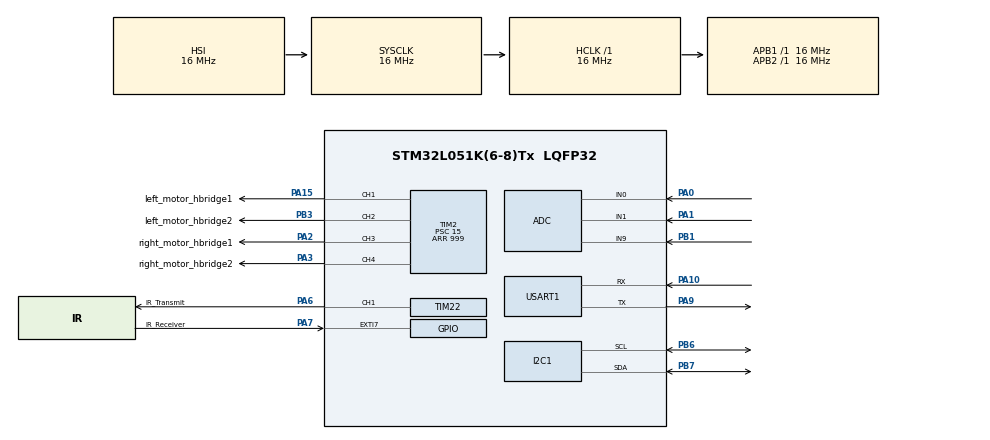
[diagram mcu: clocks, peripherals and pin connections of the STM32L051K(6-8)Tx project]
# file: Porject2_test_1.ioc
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I2C1.Timing=0x00503D58
Mcu.Family=STM32L0
Mcu.Name=STM32L051K(6-8)Tx
Mcu.Package=LQFP32
NVIC.EXTI4_15_IRQn=true\:1\:0\:true\:false\:true\:true\:true\:true
NVIC.TIM21_IRQn=true\:1\:0\:true\:false\:true\:true\:true\:true
NVIC.TIM6_DAC_IRQn=true\:0\:0\:false\:false\:true\:true\:true\:true
PA0.Mode=IN0
PA0.Signal=ADC_IN0
PA1.Mode=IN1
PA1.Signal=ADC_IN1
PA10.Mode=Asynchronous
PA10.Signal=USART1_RX
PA13.Mode=Serial_Wire
PA13.Signal=SYS_SWDIO
PA14.Mode=Serial_Wire
PA14.Signal=SYS_SWCLK
PA15.GPIO_Label=left_motor_hbridge1
PA15.Signal=S_TIM2_CH1
PA2.GPIO_Label=right_motor_hbridge1
PA2.Signal=S_TIM2_CH3
PA3.GPIO_Label=right_motor_hbridge2
PA3.Signal=S_TIM2_CH4
PA6.GPIO_Label=IR_Transmit
PA6.Signal=S_TIM22_CH1
PA7.GPIO_Label=IR_Receiver
PA7.GPIO_ModeDefaultEXTI=GPIO_MODE_IT_RISING_FALLING
PA7.GPIO_PuPd=GPIO_NOPULL
PA7.Signal=GPXTI7
PA9.Mode=Asynchronous
PA9.Signal=USART1_TX
PB1.Mode=IN9
PB1.Signal=ADC_IN9
PB3.GPIO_Label=left_motor_hbridge2
PB3.Signal=S_TIM2_CH2
PB6.Mode=I2C
PB6.Signal=I2C1_SCL
PB7.Mode=I2C
PB7.Signal=I2C1_SDA
ProjectManager.HeapSize=0x200
ProjectManager.StackSize=0x400
ProjectManager.TargetToolchain=CMake
RCC.AHBFreq_Value=16000000
RCC.APB1Freq_Value=16000000
RCC.APB1TimFreq_Value=16000000
RCC.APB2Freq_Value=16000000
RCC.APB2TimFreq_Value=16000000
RCC.HCLKFreq_Value=16000000
RCC.HSI16_VALUE=16000000
RCC.HSI_VALUE=16000000
RCC.LSE_VALUE=32768
RCC.MSI_VALUE=2097000
RCC.SYSCLKFreq_VALUE=16000000
RCC.SYSCLKSource=RCC_SYSCLKSOURCE_HSI
RCC.VCOOutputFreq_Value=48000000
SH.S_TIM22_CH1.0=TIM22_CH1,PWM Generation1 CH1
SH.S_TIM2_CH1.0=TIM2_CH1,PWM Generation1 CH1
SH.S_TIM2_CH2.0=TIM2_CH2,PWM Generation2 CH2
SH.S_TIM2_CH3.0=TIM2_CH3,PWM Generation3 CH3
SH.S_TIM2_CH4.0=TIM2_CH4,PWM Generation4 CH4
TIM2.Channel-PWM\ Generation1\ CH1=TIM_CHANNEL_1
TIM2.Channel-PWM\ Generation2\ CH2=TIM_CHANNEL_2
TIM2.Channel-PWM\ Generation3\ CH3=TIM_CHANNEL_3
TIM2.Channel-PWM\ Generation4\ CH4=TIM_CHANNEL_4
TIM2.Period=999
TIM2.Prescaler=15
TIM21.Period=262
TIM21.Prescaler=15
TIM22.Channel-PWM\ Generation1\ CH1=TIM_CHANNEL_1
TIM22.Period=420
TIM6.Prescaler=15
USART1.VirtualMode-Asynchronous=VM_ASYNC
VP_TIM21_VS_ClockSourceINT.Mode=Internal
VP_TIM2_VS_ClockSourceINT.Mode=Internal
VP_TIM6_VS_ClockSourceINT.Mode=Enable_Timer
board=custom

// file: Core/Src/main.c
/* USER CODE BEGIN Header */
/**
  ******************************************************************************
  * @file           : main.c
  * @brief          : Main program body
  ******************************************************************************
  */
/* USER CODE END Header */

#include "main.h"
#include "adc.h"
#include "i2c.h"
#include "tim.h"
#include "usart.h"
#include "gpio.h"

/* USER CODE BEGIN Includes */
#include <string.h>
#include <math.h>
#include <stdlib.h>
#include "ir_rx.h"
#include "ir_tx.h"
#include "config.h"
#include "datatypes.h"
#include "vl53l0x.h"
#include <stdio.h>
/* USER CODE END Includes */

/* USER CODE BEGIN PV */

// IMU Variables
static uint8_t imu_addr = 0;
static uint8_t gyro_buf[6];
static uint8_t accel_buf[6];

static int16_t gyro_x = 0;
static int16_t gyro_y = 0;
static int16_t gyro_z = 0;

static int16_t accel_x = 0;
static int16_t accel_y = 0;
static int16_t accel_z = 0;

static float ax_g = 0.0f;
static float ay_g = 0.0f;
static float az_g = 0.0f;

static float gx_dps = 0.0f;
static float gy_dps = 0.0f;
static float gz_dps = 0.0f;

static float gx_bias = 0.0f;
static float gy_bias = 0.0f;
static float gz_bias = 0.0f;

static float roll_deg = 0.0f;
static float pitch_deg = 0.0f;
static float yaw_deg = 0.0f;
static float yaw_zero_deg = 0.0f;

static float pose_x_cm = 0.0f;
static float pose_y_cm = 0.0f;
static int current_left_motor_cmd = 0;
static int current_right_motor_cmd = 0;
static int current_drive_cmd = 0;
static uint32_t last_imu_update_ms = 0u;
static uint32_t last_pose_stream_ms = 0u;
static uint8_t origin_sent = 0u;
static uint32_t last_guidewire_sample_ms = 0u;
static uint8_t guidewire_origin_locked = 0u;
static uint8_t guidewire_lock_streak = 0u;
float normalized_roll = 0.0f;

// IR_TX buffers
int ir_left_power = 0;
int ir_right_power = 0;

// Ping-pong IR TX scheduling
static uint32_t last_ir_tx_ms = 0u;
#define IR_TX_DEADLOCK_MS  50u   /* fallback: TX anyway if no RX for this long */

uint8_t rx_line_buf[96];
uint16_t rx_line_len = 0u;
uint8_t rx_pending_buf[96];
volatile uint16_t rx_pending_len = 0u;
volatile uint8_t rx_line_ready = 0u;
uint8_t uart_rx_byte = 0u;

// path tracking variables
uint8_t path_x[PATH_MAX_WAYPOINTS];
uint8_t path_y[PATH_MAX_WAYPOINTS];
uint8_t path_count = 0u;
uint8_t path_current_index = 0u;
uint8_t path_receiving = 0u;
uint8_t path_loaded = 0u;

// Vehicle Control
enum path_tracking_states my_tracking_states = Running;
volatile uint16_t ir_joystick_x = IR_JOYSTICK_CENTER_X;
volatile uint16_t ir_joystick_y = IR_JOYSTICK_CENTER_Y;

volatile uint16_t ir_mode      = 0u;
volatile uint8_t  ir_running   = 0u;
volatile uint16_t ir_path      = 1u;
volatile uint8_t ir_reset      = 0u; // 1 reset to config state
volatile uint8_t ir_pause      = 0u;
volatile uint8_t zero_yaw      = 0u;

// Inductor readings
uint16_t adc0;
uint16_t v_left;
uint16_t adc1;
uint16_t v_right;
uint16_t adc9;
uint16_t v_front;
uint16_t v_front_last;

//float intersection_encountered_yaw_angle;
float intersection_turn_current_yaw_angle;
uint32_t intersection_encountered_time;
uint8_t intersection_number = 0;
enum intersection_directions path1[] = {Forward, Left, Left, Forward, Right, Left, Right, Stop};
//enum intersection_directions path1[] = {Left, Left, Left, Right, Right, Left, Right, Stop};
enum intersection_directions path2[] = {Left, Right, Left, Right, Forward, Forward, Stop};
enum intersection_directions path3[] = {Right, Forward, Right, Left, Right, Left, Forward, Stop};
enum intersection_directions path_man[8] = {Stop, Stop, Stop, Stop, Stop, Stop, Stop, Stop};
uint8_t front_inductor_ready = 1;
uint32_t intersection_leave_time;
uint32_t last_intersection_turning_time;
uint32_t intersection_turn_settle_start_time;

// Time
uint32_t now_ms;
float dt_s;

// Controller State Machine
typedef enum
{
  STATE_CONFIG,
  STATE_DRIVE,
  STATE_PAUSE
} ControllerState;

// belongs to DRIVE state in ControllerState
typedef enum
{
  STATE_FIELD_TRACKING,
  STATE_REMOTE,
  STATE_PATH_TRACKING
} CarState;

ControllerState controller_state = STATE_CONFIG;
CarState car_state = STATE_FIELD_TRACKING;

/* USER CODE END PV */

void SystemClock_Config(void);
/* USER CODE BEGIN PFP */

void Set_Left_Motor(int speed);
void Set_Right_Motor(int speed);
void handle_resting(void);
void handle_intersection_encountered(void);
void handle_intersection_turning(void);
void path_tracking(void);
void handle_line_tracking(void);
void motor_remote_control(uint16_t, uint16_t);
void Set_Car_Speed(int speed);
void handle_intersection_stop(void);
void handle_intersection_compensation(void);
void handle_intersection_turn_settle(void);

// IMU
void uart_send_text(const char *s);
void uart_send_line(const char *s);
void uart_send_uint32(uint32_t value);
void uart_send_pose(void);
void uart_send_origin(void);
void uart_dump_waypoints(const char *tag);
void process_uart_command(char *line);
void process_pathfinder_control(float dt_s);
void sample_guidewire_sensors(void);
void update_guidewire_origin_reference(void);
void reset_pose_origin(void);
float wrap_angle_deg(float angle_deg);
float roll_to_negative_domain_deg(float wrapped_angle_deg);
int clamp_motor_speed(int speed);
int parse_int_simple(const char *s, int *out);

uint8_t probe_addr(uint8_t addr);
void i2c_scan(void);

uint8_t imu_write_reg(uint8_t reg, uint8_t val);
uint8_t imu_read_reg(uint8_t reg, uint8_t *val);
uint8_t imu_read_regs(uint8_t reg, uint8_t *buf, uint16_t len);

uint8_t MiniMU_FindIMU(void);
uint8_t MiniMU_Init(void);
uint8_t MiniMU_ReadGyro(void);
uint8_t MiniMU_ReadAccel(void);
void MiniMU_UpdateScaled(void);
void MiniMU_UpdateAngles(void);
void MiniMU_PrintScaledData(void);
void MiniMU_PrintAngles(void);
uint8_t MiniMU_CalibrateGyro(void);

void IMUUpdate(void); //MAIN IMU FUNCTION

// IR TX queue helpers
static void SendNextFromQueue(void);
static void EnqueueTelemetry(void);

// State Machine Functions
void ControllerStateMachine(void);
void CarStateMachine(void);
void HandleCommand(uint8_t cmd_name, uint16_t val);

/* USER CODE END PFP */

/* USER CODE BEGIN 0 */

void UART_StartRxIT(void)
{
    HAL_UART_Receive_IT(&huart1, &uart_rx_byte, 1u);
}

float wrap_angle_deg(float angle_deg)
{
    while (angle_deg > 180.0f)
    {
        angle_deg -= 360.0f;
    }

    while (angle_deg < -180.0f)
    {
        angle_deg += 360.0f;
    }

    return angle_deg;
}

float roll_to_negative_domain_deg(float wrapped_angle_deg)
{
    float angle_deg = wrap_angle_deg(wrapped_angle_deg);

    if (angle_deg > 0.0f)
    {
        angle_deg -= 360.0f;
    }

    return angle_deg;
}

int clamp_motor_speed(int speed)
{
    if (speed > 100)
    {
        return 100;
    }

    if (speed < -100)
    {
        return -100;
    }

    return speed;
}

int parse_int_simple(const char *s, int *out)
{
    int sign = 1;
    int value = 0;

    if ((s == NULL) || (out == NULL) || (*s == '\0'))
    {
        return 0;
    }

    if (*s == '-')
    {
        sign = -1;
        s++;
    }

    if (*s == '\0')
    {
        return 0;
    }

    while (*s != '\0')
    {
        if ((*s < '0') || (*s > '9'))
        {
            return 0;
        }

        value = (value * 10) + (*s - '0');
        s++;
    }

    *out = sign * value;
    return 1;
}

static uint8_t text_equals(const char *a, const char *b)
{
    if ((a == NULL) || (b == NULL))
    {
        return 0u;
    }

    while ((*a != '\0') && (*b != '\0'))
    {
        if (*a != *b)
        {
            return 0u;
        }
        a++;
        b++;
    }

    return ((*a == '\0') && (*b == '\0')) ? 1u : 0u;
}

static int split_csv_fields(char *line, char **fields, int max_fields)
{
    int count = 0;

    if ((line == NULL) || (fields == NULL) || (max_fields <= 0))
    {
        return 0;
    }

    fields[count++] = line;

    while (*line != '\0')
    {
        if (*line == ',')
        {
            *line = '\0';
            if (count < max_fields)
            {
                fields[count++] = line + 1;
            }
        }
        line++;
    }

    return count;
}

void process_uart_command(char *line)
{
    char original_line[sizeof(rx_pending_buf)];
    char *tokens[4];
    int token_count = 0;
    int parsed_value;
    uint16_t i = 0u;

    if ((line == NULL) || (*line == '\0'))
    {
        return;
    }

    while ((i < (uint16_t)(sizeof(original_line) - 1u)) && (line[i] != '\0'))
    {
        original_line[i] = line[i];
        i++;
    }
    original_line[i] = '\0';

    token_count = split_csv_fields(line, tokens, (int)(sizeof(tokens) / sizeof(tokens[0])));

    if (token_count <= 0)
    {
        return;
    }

    if (text_equals(tokens[0], "PATH_BEGIN"))
    {
        if ((token_count >= 2) &&
            parse_int_simple(tokens[1], &parsed_value) &&
            (parsed_value >= 0) &&
            (parsed_value <= (int)PATH_MAX_WAYPOINTS))
        {
            path_count = (uint8_t)parsed_value;
            path_current_index = 0u;
            path_receiving = 1u;
            path_loaded = 0u;
            uart_send_line("PATH_ACK,BEGIN");
        }
        return;
    }

    if (text_equals(tokens[0], "WPT"))
    {
        int idx;
        int x_cm;
        int y_cm;

        if ((token_count >= 4) &&
            path_receiving &&
            parse_int_simple(tokens[1], &idx) &&
            parse_int_simple(tokens[2], &x_cm) &&
            parse_int_simple(tokens[3], &y_cm) &&
            (idx >= 0) &&
            (idx < (int)PATH_MAX_WAYPOINTS) &&
            (x_cm >= 0) &&
            (x_cm <= 255) &&
            (y_cm >= 0) &&
            (y_cm <= 255))
        {
            path_x[idx] = (uint8_t)x_cm;
            path_y[idx] = (uint8_t)y_cm;
            if ((uint8_t)(idx + 1) > path_count)
            {
                path_count = (uint8_t)(idx + 1);
            }
            uart_send_text("RX_CMD,");
            uart_send_line(original_line);
        }
        return;
    }

    if (text_equals(tokens[0], "PATH_END"))
    {
        if (path_receiving)
        {
            path_receiving = 0u;
            path_loaded = (path_count > 0u) ? 1u : 0u;
            path_current_index = 0u;
            uart_send_line("PATH_ACK,LOADED");
            uart_dump_waypoints("UART");
        }
        return;
    }

    if (text_equals(tokens[0], "ZERO_YAW"))
    {
        yaw_zero_deg = yaw_deg;
        uart_send_line("ZERO_YAW_ACK,OK");
    }
}

void reset_pose_origin(void)
{
    pose_x_cm = 0.0f;
    pose_y_cm = 0.0f;
    yaw_zero_deg = yaw_deg;
    current_drive_cmd = 0;
    origin_sent = 0u;
    guidewire_origin_locked = 0u;
    guidewire_lock_streak = 0u;
}
/* USER CODE END 0 */

int main(void)
{

  /* MCU Configuration--------------------------------------------------------*/

  /* Reset of all peripherals, Initializes the Flash interface and the Systick. */
  HAL_Init();
  SystemClock_Config();

  MX_GPIO_Init();
  MX_USART1_UART_Init();
  UART_StartRxIT();
  MX_TIM2_Init();
  MX_ADC_Init();
  MX_I2C1_Init();
  MX_TIM6_Init();
  /* USER CODE BEGIN 2 */
  HAL_TIM_PWM_Start(&htim2, TIM_CHANNEL_1);
  HAL_TIM_PWM_Start(&htim2, TIM_CHANNEL_2);
  HAL_TIM_PWM_Start(&htim2, TIM_CHANNEL_3);
  HAL_TIM_PWM_Start(&htim2, TIM_CHANNEL_4);

  reset_pose_origin();
  last_imu_update_ms = HAL_GetTick();
  last_pose_stream_ms = last_imu_update_ms;
  last_guidewire_sample_ms = last_imu_update_ms;
  uart_send_origin();

  // Configure ADC channel
  HAL_ADCEx_Calibration_Start(&hadc, ADC_SINGLE_ENDED);
  vdda_calibration();

  // i2c init
  VL53L0X_Init();

  // IR init
  htim6.Instance->ARR = 262u;
  htim6.Instance->EGR = 0x01U;
  IR_RX_Init();
  MX_TIM21_Init();
  MX_TIM22_Init();
  IR_TX_Init();
  HAL_TIM_Base_Start_IT(&htim6);

  // IMU init
  if (!MiniMU_Init())
  {
      while (1)
      {
          HAL_GPIO_TogglePin(GPIOB, GPIO_PIN_1);
          HAL_Delay(1000);
      }
  }

  if (!MiniMU_CalibrateGyro())
  {
      while (1)
      {
          HAL_GPIO_TogglePin(GPIOB, GPIO_PIN_1);
          HAL_Delay(1000);
      }
  }

  last_imu_update_ms = HAL_GetTick();
  last_pose_stream_ms = last_imu_update_ms;
  last_guidewire_sample_ms = last_imu_update_ms;
  uart_send_origin();

  /* USER CODE END 2 */

  /* Infinite loop */
  while (1)
  {

    /* USER CODE BEGIN 3 */
    now_ms = HAL_GetTick();

    IR_RX_Update();
    if (ir_rx_ready) {
        ir_rx_ready = 0u;
        HandleCommand(ir_rx_frame.cmd, ir_rx_frame.val);
        SendNextFromQueue();          /* ping-pong: TX immediately after RX   */
    }
    /* Deadlock guard: if no RX packet for IR_TX_DEADLOCK_MS, TX anyway       */
    if (!IR_TX_Busy() && (now_ms - last_ir_tx_ms) >= IR_TX_DEADLOCK_MS) {
        SendNextFromQueue();
    }

    // path tracking zero the yaw
    if (zero_yaw)
    {
        reset_pose_origin();
        zero_yaw = 0u;
    }

    /*
    if (rx_line_ready)
    {
        char line_buf[sizeof(rx_pending_buf)];
        uint16_t copy_len = rx_pending_len;
        uint16_t i;

        if (copy_len >= sizeof(line_buf))
        {
            copy_len = (uint16_t)(sizeof(line_buf) - 1u);
        }

        for (i = 0u; i < copy_len; i++)
        {
            line_buf[i] = (char)rx_pending_buf[i];
        }
        line_buf[copy_len] = '\0';
        rx_pending_len = 0u;
        rx_line_ready = 0u;
        process_uart_command(line_buf);
    }
    */

    /*--------------------------------------------------------------------------*/
    // Collision Detection & IMU Tip Detection (Roll)
    /*--------------------------------------------------------------------------*/
    static uint32_t last_dist_ms = 0;
    static uint16_t current_distance = 8190; // Default to max range

    if (HAL_GetTick() - last_dist_ms >= 100u) {
      last_dist_ms = HAL_GetTick();
      uint16_t reading = VL53L0X_ReadDistance();
      if (reading != 0xFFFFu) {
          current_distance = reading;
      } else {
          current_distance = 8190;
      }
      //printf("[DIST] raw=%u  used=%u\r\n", reading, current_distance);
    }

    if (current_distance < 100u)
    {
      Set_Left_Motor(0);
      Set_Right_Motor(0);
      current_drive_cmd = 0;
    }
    else if ((normalized_roll + 180) > 50 || (normalized_roll + 180) < -50)
    {
      Set_Left_Motor(0);
      Set_Right_Motor(0);
      current_drive_cmd = 0;
     // printf("car tilted\r\n");
    }
    else
    {
      ControllerStateMachine();
      //printf("running normally\r\n");
    }

    IMUUpdate();
    /*--------------------------------------------------------------------------*/
  /* USER CODE END 3 */
  }
  /* USER CODE END WHILE */
}

void SystemClock_Config(void)
{
  RCC_OscInitTypeDef RCC_OscInitStruct = {0};
  RCC_ClkInitTypeDef RCC_ClkInitStruct = {0};
  RCC_PeriphCLKInitTypeDef PeriphClkInit = {0};

  __HAL_PWR_VOLTAGESCALING_CONFIG(PWR_REGULATOR_VOLTAGE_SCALE1);

  RCC_OscInitStruct.OscillatorType = RCC_OSCILLATORTYPE_HSI;
  RCC_OscInitStruct.HSIState = RCC_HSI_ON;
  RCC_OscInitStruct.HSICalibrationValue = RCC_HSICALIBRATION_DEFAULT;
  RCC_OscInitStruct.PLL.PLLState = RCC_PLL_NONE;
  if (HAL_RCC_OscConfig(&RCC_OscInitStruct) != HAL_OK)
  {
    Error_Handler();
  }

  RCC_ClkInitStruct.ClockType = RCC_CLOCKTYPE_HCLK | RCC_CLOCKTYPE_SYSCLK
                              | RCC_CLOCKTYPE_PCLK1 | RCC_CLOCKTYPE_PCLK2;
  RCC_ClkInitStruct.SYSCLKSource = RCC_SYSCLKSOURCE_HSI;
  RCC_ClkInitStruct.AHBCLKDivider = RCC_SYSCLK_DIV1;
  RCC_ClkInitStruct.APB1CLKDivider = RCC_HCLK_DIV1;
  RCC_ClkInitStruct.APB2CLKDivider = RCC_HCLK_DIV1;

  if (HAL_RCC_ClockConfig(&RCC_ClkInitStruct, FLASH_LATENCY_0) != HAL_OK)
  {
    Error_Handler();
  }

  PeriphClkInit.PeriphClockSelection = RCC_PERIPHCLK_USART1|RCC_PERIPHCLK_I2C1;
  PeriphClkInit.Usart1ClockSelection = RCC_USART1CLKSOURCE_PCLK2;
  PeriphClkInit.I2c1ClockSelection = RCC_I2C1CLKSOURCE_PCLK1;

  if (HAL_RCCEx_PeriphCLKConfig(&PeriphClkInit) != HAL_OK)
  {
    Error_Handler();
  }
}

/* USER CODE BEGIN 4 */
// LEFT MOTOR (TIM2) |  CH1 (PA15) = Forward Pin | CH2 (PB3) = Reverse Pin
void Set_Left_Motor(int speed){
  speed = clamp_motor_speed(speed);
  current_left_motor_cmd = speed;

  if(speed == 0) { // STOP
    __HAL_TIM_SET_COMPARE(&htim2, TIM_CHANNEL_1, 0);
    __HAL_TIM_SET_COMPARE(&htim2, TIM_CHANNEL_2, 0);
  }
  else if(speed > 0) { // FORWARD: CH1 gets PWM, CH2 stays 0
    __HAL_TIM_SET_COMPARE(&htim2, TIM_CHANNEL_1, speed * 10);
    __HAL_TIM_SET_COMPARE(&htim2, TIM_CHANNEL_2, 0);
  }
  else { // REVERSE: CH1 stays 0, CH2 gets PWM
    __HAL_TIM_SET_COMPARE(&htim2, TIM_CHANNEL_1, 0);
    __HAL_TIM_SET_COMPARE(&htim2, TIM_CHANNEL_2, (-speed) * 10);
  }
}

// RIGHT MOTOR (TIM2) | CH3 (PA2) = Forward Pin | CH4 (PA3) = Reverse Pin
void Set_Right_Motor(int speed){
  speed = clamp_motor_speed(speed);
  current_right_motor_cmd = speed;

  if(speed == 0) { // STOP
    __HAL_TIM_SET_COMPARE(&htim2, TIM_CHANNEL_3, 0);
    __HAL_TIM_SET_COMPARE(&htim2, TIM_CHANNEL_4, 0);
  }
  else if(speed > 0) { // FORWARD: CH3 gets PWM, CH4 stays 0
    __HAL_TIM_SET_COMPARE(&htim2, TIM_CHANNEL_3, speed * 10);
    __HAL_TIM_SET_COMPARE(&htim2, TIM_CHANNEL_4, 0);
  }
  else { // REVERSE: CH3 stays 0, CH4 gets PWM
    __HAL_TIM_SET_COMPARE(&htim2, TIM_CHANNEL_3, 0);
    __HAL_TIM_SET_COMPARE(&htim2, TIM_CHANNEL_4, (-speed) * 10);
  }
}

/* TX addr=0x7 continuously, print any received addr=0x6 frame. */

void path_tracking(void){
  sample_guidewire_sensors();
  //printf("%d\n", my_tracking_states);

  switch(my_tracking_states){
    case Resting:
      handle_resting();
      break;

    case Running:
      handle_line_tracking();
      break;

    case Intersection_encountered:
      handle_intersection_encountered();
      break;

    case Intersection_compensation:
      handle_intersection_compensation();
      break;

    case Intersection_turning:
      handle_intersection_turning();
      break;

    case Intersection_turn_settle:
      handle_intersection_turn_settle();
      break;

    case Intersection_stop:
      handle_intersection_stop();
      break;
  }
}

void sample_guidewire_sensors(void)
{
  adc0 = read_adc_channel(ADC_CHANNEL_0);
  adc1 = read_adc_channel(ADC_CHANNEL_1);
  adc9 = read_adc_channel(ADC_CHANNEL_9);

  // left, right, front and adc mapping depend on wiring
  v_left = adc_to_voltage(adc0);
  v_right = adc_to_voltage(adc9);
  v_front = adc_to_voltage(adc1);
}

void handle_resting(void){
  Set_Left_Motor(0);
  Set_Right_Motor(0);
  intersection_number = 0;

  if (controller_state == STATE_DRIVE){
    my_tracking_states = Running;
  }
  else{
    my_tracking_states = Resting;
  }
}

void update_guidewire_origin_reference(void)
{
  uint32_t lateral_error_mv;

  if (guidewire_origin_locked)
  {
    return;
  }

  lateral_error_mv = (v_left > v_right) ? (v_left - v_right) : (v_right - v_left);

  if ((v_front >= GUIDEWIRE_FRONT_THRESHOLD_MV) &&
      (lateral_error_mv <= GUIDEWIRE_BALANCE_TOLERANCE_MV))
  {
    if (guidewire_lock_streak < GUIDEWIRE_LOCK_SAMPLES_REQUIRED)
    {
      guidewire_lock_streak++;
    }
  }
  else
  {
    guidewire_lock_streak = 0u;
  }

  if (guidewire_lock_streak >= GUIDEWIRE_LOCK_SAMPLES_REQUIRED)
  {
    reset_pose_origin();
    guidewire_origin_locked = 1u;
    uart_send_origin();
    uart_send_pose();
  }
}

void handle_line_tracking(void){
  int base_power;
  int error;
  int left_power;
  int right_power;
  uint32_t line_tracking_current_time = HAL_GetTick();
  if(line_tracking_current_time - intersection_leave_time > INTERSECTION_REARM_TIME_MS){
    front_inductor_ready = 1;
  }

  error = (int)v_left - (int)v_right;
  base_power = PB - KS * abs(error);

  /*
  if(v_front > 700){
    base_power = base_power - KF * v_front;
    if (base_power < 45) {
      base_power = 45;
    }
  }
  */
  if(v_front > 700 && v_front > v_front_last){
    base_power = PB - 0.1 * (v_front - v_front_last);
  }

  left_power = base_power - KP * error;
  right_power = base_power + KP * error;

  if(front_inductor_ready == 1 && v_front > STOP_VF){
    my_tracking_states = Intersection_encountered;
  }
  else{
    my_tracking_states = Running;
  }

  Set_Left_Motor(left_power);
  Set_Right_Motor(right_power);

  // ir_tx power update
  ir_right_power = left_power;
  ir_left_power = right_power;

  v_front_last = v_front;
}

void handle_intersection_encountered(void){
  intersection_number += 1;
  enum intersection_directions current_direction;
  switch(ir_path){
    case IR_PATH_1:
      current_direction = path1[intersection_number-1];
      break;

    case IR_PATH_2:
      current_direction = path2[intersection_number-1];
      break;

    case IR_PATH_3:
      current_direction = path3[intersection_number-1];
      break;

    case IR_PATH_MANUAL:
      current_direction = (intersection_number <= 8u)
          ? path_man[intersection_number-1] : Stop;
      break;

    default:
      current_direction = Stop;
      break;
  }

  if(current_direction == Forward){
    my_tracking_states = Intersection_turning;
    //intersection_leave_time = HAL_GetTick();
    front_inductor_ready = 0;
  }
  else{
    Set_Left_Motor(0);
    Set_Right_Motor(0);
    //my_tracking_states = Intersection_turning;
    my_tracking_states = Intersection_compensation;
    intersection_encountered_time = HAL_GetTick();
    //last_intersection_turning_time = HAL_GetTick();
    //intersection_turn_current_yaw_angle = 0;
    //front_inductor_ready = 0;
  }
}

void handle_intersection_compensation(void){
  if(HAL_GetTick() - intersection_encountered_time < INTERSECTION_COMPENSATION_TIME){
    Set_Left_Motor(50);
    Set_Right_Motor(50);
    my_tracking_states = Intersection_compensation;
  }
  else{
    Set_Left_Motor(0);
    Set_Right_Motor(0);
    my_tracking_states = Intersection_turning;
    last_intersection_turning_time = HAL_GetTick();
    intersection_turn_current_yaw_angle = 0;
    front_inductor_ready = 0;
  }
}

void handle_intersection_turning(void){
  //uint32_t intersection_turning_current_time = HAL_GetTick();
  float dt_s = (HAL_GetTick() - last_intersection_turning_time) / 1000.0f;
  last_intersection_turning_time = HAL_GetTick();
  intersection_turn_current_yaw_angle = intersection_turn_current_yaw_angle + gz_dps * dt_s;
  enum intersection_directions current_direction;
  switch(ir_path){
    case IR_PATH_1:
      current_direction = path1[intersection_number-1];
      break;

    case IR_PATH_2:
      current_direction = path2[intersection_number-1];
      break;

    case IR_PATH_3:
      current_direction = path3[intersection_number-1];
      break;

    case IR_PATH_MANUAL:
      current_direction = (intersection_number <= 8u)
          ? path_man[intersection_number-1] : Stop;
      break;

    default:
      current_direction = Stop;
      break;
  }

  switch(current_direction){
    case Forward:
      my_tracking_states = Running;
      intersection_leave_time = HAL_GetTick();
      break;

    case Left:
      if(intersection_turn_current_yaw_angle > LEFT_TURN_DEGREE){
        Set_Left_Motor(-TURNING_SPEED);
        Set_Right_Motor(TURNING_SPEED);
        my_tracking_states = Intersection_turning;
      }
      else{
        Set_Left_Motor(0);
        Set_Right_Motor(0);
        intersection_turn_settle_start_time = HAL_GetTick();
        my_tracking_states = Intersection_turn_settle;
      }
      break;

    case Right:
      if(intersection_turn_current_yaw_angle < RIGHT_TURN_DEGREE){
        Set_Left_Motor(TURNING_SPEED);
        Set_Right_Motor(-TURNING_SPEED);
        my_tracking_states = Intersection_turning;
      }
      else{
        Set_Left_Motor(0);
        Set_Right_Motor(0);
        intersection_turn_settle_start_time = HAL_GetTick();
        my_tracking_states = Intersection_turn_settle;
      }
      break;

    case Stop:
      my_tracking_states = Intersection_stop;
      intersection_leave_time = HAL_GetTick();
      break;
  }
}

void handle_intersection_turn_settle(void){
  Set_Left_Motor(0);
  Set_Right_Motor(0);

  if(HAL_GetTick() - intersection_turn_settle_start_time < INTERSECTION_TURN_SETTLE_TIME){
    my_tracking_states = Intersection_turn_settle;
  }
  else{
    my_tracking_states = Running;
    intersection_leave_time = HAL_GetTick();
  }
}

void handle_intersection_stop(void){
  Set_Left_Motor(0);
  Set_Right_Motor(0);
  intersection_number = 0;
  ir_running = 0;
  controller_state = STATE_CONFIG;
  my_tracking_states = Resting;
}

void motor_remote_control(uint16_t x, uint16_t y){
  int x_in;
  int y_in;
  int left_power;
  int right_power;

  if(x >= 165u){
    x_in = (((int)x - 165) * 100) / 90;
  }
  else{
    x_in = (((int)x - 165) * 100) / 165;
  }

  if(y >= 170u){
    y_in = (((int)y - 170) * 100) / 85;
  }
  else{
    y_in = (((int)y - 170) * 100) / 170;
  }

  /* Dead zone for joy stick */
  if(x_in < 20 && x_in > -20){
    x_in = 0;
  }
  if(y_in < 20 && y_in > -20){
    y_in = 0;
  }

  if(x_in == 0){
    left_power = y_in;
    right_power = -y_in;
  }
  else{
    left_power = x_in + y_in / 2;
    right_power = x_in - y_in / 2;
  }

  current_drive_cmd = 0;

  Set_Left_Motor(left_power);
  Set_Right_Motor(right_power);

    // ir_tx power update
  ir_right_power = left_power;
  ir_left_power = right_power;

}

void Set_Car_Speed(int speed){
  //speed should be between 0 and 100
  if(speed > 100)
    speed = 100;
  if(speed < -100)
    speed = -100;
  //STOP
  if(speed == 0) {
    __HAL_TIM_SET_COMPARE(&htim2, TIM_CHANNEL_1, 0);
    __HAL_TIM_SET_COMPARE(&htim2, TIM_CHANNEL_2, 0);
  }
  //FORWARD
  else if(speed > 0) {
    HAL_GPIO_WritePin(GPIOB, GPIO_PIN_0, GPIO_PIN_SET);
    HAL_GPIO_WritePin(GPIOA, GPIO_PIN_5, GPIO_PIN_RESET);

    // Multiply by 10 (e.g., 100% * 10 = 1000 ARR)
    __HAL_TIM_SET_COMPARE(&htim2, TIM_CHANNEL_1, speed * 10);
    __HAL_TIM_SET_COMPARE(&htim2, TIM_CHANNEL_2, speed * 10);
  }
  //BACKWARD
  else{
    HAL_GPIO_WritePin(GPIOB, GPIO_PIN_0, GPIO_PIN_RESET);
    HAL_GPIO_WritePin(GPIOA, GPIO_PIN_5, GPIO_PIN_SET);

    // Multiply by -10 (e.g., -100% * -10 = 1000 ARR)
    __HAL_TIM_SET_COMPARE(&htim2, TIM_CHANNEL_1, (-speed) * 10);
    __HAL_TIM_SET_COMPARE(&htim2, TIM_CHANNEL_2, (-speed) * 10);
  }
}

int __io_putchar(int ch)
{
    HAL_UART_Transmit(&huart1, (uint8_t *)&ch, 1u, HAL_MAX_DELAY);
    return ch;
}

void uart_send_text(const char *s)
{
    HAL_UART_Transmit(&huart1, (uint8_t *)s, (uint16_t)strlen(s), HAL_MAX_DELAY);
}

void uart_send_line(const char *s)
{
    uart_send_text(s);
    uart_send_text("\r\n");
}

void uart_send_uint32(uint32_t value)
{
    char buf[10];
    int i = 0;

    if (value == 0u)
    {
        uart_send_text("0");
        return;
    }

    while ((value > 0u) && (i < (int)sizeof(buf)))
    {
        buf[i++] = (char)('0' + (value % 10u));
        value /= 10u;
    }

    while (i > 0)
    {
        i--;
        HAL_UART_Transmit(&huart1, (uint8_t *)&buf[i], 1u, HAL_MAX_DELAY);
    }
}

void uart_send_origin(void)
{
    uart_send_line("ORIGIN,0,0");
    origin_sent = 1u;
}

void uart_dump_waypoints(const char *tag)
{
    uint8_t i;

    uart_send_text("PATH_DUMP");
    if ((tag != NULL) && (*tag != '\0'))
    {
        uart_send_text(",");
        uart_send_text(tag);
    }
    uart_send_text(",count,");
    uart_send_uint32(path_count);
    uart_send_text(",current,");
    uart_send_uint32(path_current_index);
    uart_send_text(",loaded,");
    uart_send_uint32(path_loaded);
    uart_send_text("\r\n");

    for (i = 0u; i < path_count; i++)
    {
        uart_send_text("WPT_BUF,");
        uart_send_uint32(i);
        uart_send_text(",");
        uart_send_uint32(path_x[i]);
        uart_send_text(",");
        uart_send_uint32(path_y[i]);
        uart_send_text("\r\n");
    }
}

void HAL_UART_RxCpltCallback(UART_HandleTypeDef *huart)
{
    uint16_t i;

    if (huart->Instance != USART1)
    {
        return;
    }

    if ((uart_rx_byte == '\r') || (uart_rx_byte == '\n'))
    {
        if ((rx_line_len > 0u) && !rx_line_ready)
        {
            for (i = 0u; i < rx_line_len; i++)
            {
                rx_pending_buf[i] = rx_line_buf[i];
            }
            rx_pending_len = rx_line_len;
            rx_line_len = 0u;
            rx_line_ready = 1u;
        }
        else
        {
            rx_line_len = 0u;
        }
    }
    else if (rx_line_len < (sizeof(rx_line_buf) - 1u))
    {
        rx_line_buf[rx_line_len++] = uart_rx_byte;
    }
    else
    {
        rx_line_len = 0u;
    }

    HAL_UART_Receive_IT(&huart1, &uart_rx_byte, 1u);
}

void HAL_UART_ErrorCallback(UART_HandleTypeDef *huart)
{
    if (huart->Instance != USART1)
    {
        return;
    }

    rx_line_len = 0u;
    HAL_UART_Receive_IT(&huart1, &uart_rx_byte, 1u);
}

void process_pathfinder_control(float dt_s)
{
    float target_x;
    float target_y;
    float dx;
    float dy;
    float distance_cm;
    float current_heading_deg;
    float target_heading_deg;
    float heading_error_deg;
    float forward_scale;
    int drive_cmd;
    int steer_cmd;
    int left_cmd;
    int right_cmd;

    if (path_current_index >= path_count)
    {
        current_drive_cmd = 0;
        Set_Left_Motor(0);
        Set_Right_Motor(0);
        return;
    }

    target_x = path_x[path_current_index];
    target_y = path_y[path_current_index];
    dx = target_x - pose_x_cm;
    dy = target_y - pose_y_cm;
    distance_cm = sqrtf((dx * dx) + (dy * dy));
    current_heading_deg = wrap_angle_deg(yaw_deg - yaw_zero_deg);
    target_heading_deg = atan2f(dy, dx) * RAD_TO_DEG;
    heading_error_deg = wrap_angle_deg(target_heading_deg - current_heading_deg);

    if (distance_cm <= PATH_REACHED_TOLERANCE_CM)
    {
        path_current_index++;
        if (path_current_index >= path_count)
        {
            current_drive_cmd = 0;
            Set_Left_Motor(0);
            Set_Right_Motor(0);
        }
        return;
    }

    drive_cmd = PATH_FORWARD_SPEED;
    if (distance_cm < 20.0f)
    {
        drive_cmd = PATH_APPROACH_SPEED;
    }

    if (fabsf(heading_error_deg) > 60.0f)
    {
        drive_cmd = PATH_APPROACH_SPEED;
    }

    steer_cmd = (int)(heading_error_deg * PATH_STEER_GAIN);

    if (steer_cmd > PATH_MAX_STEER_CMD)
    {
        steer_cmd = PATH_MAX_STEER_CMD;
    }
    else if (steer_cmd < -PATH_MAX_STEER_CMD)
    {
        steer_cmd = -PATH_MAX_STEER_CMD;
    }

    forward_scale = cosf(fabsf(heading_error_deg) / RAD_TO_DEG);
    if (forward_scale < 0.0f)
    {
        forward_scale = 0.0f;
    }

    current_drive_cmd = (int)(drive_cmd * forward_scale);
    left_cmd = clamp_motor_speed(drive_cmd + steer_cmd);
    right_cmd = clamp_motor_speed(drive_cmd - steer_cmd);

    Set_Left_Motor(left_cmd);
    Set_Right_Motor(right_cmd);

    //for(int i=0; i<32; i++){
     //   printf("%u %u",path_x[i], path_y[i]);
   // }
/* debug log
    if ((HAL_GetTick() - last_path_control_debug_ms) >= 200u)
    {
        last_path_control_debug_ms = HAL_GetTick();
        printf("[PATH_CTRL] mode=%u state=%u idx=%u/%u\r\n",
               ir_mode, car_state, path_current_index, path_count);
        printf("[PATH_CTRL] pose=(%.2f,%.2f) yaw=%.2f zero=%.2f\r\n",
               pose_x_cm, pose_y_cm, yaw_deg, yaw_zero_deg);
        printf("[PATH_CTRL] target=(%.2f,%.2f) dx=%.2f dy=%.2f dist=%.2f\r\n",
               target_x, target_y, dx, dy, distance_cm);
        printf("[PATH_CTRL] heading=%.2f target=%.2f err=%.2f steer=%d\r\n",
               current_heading_deg, target_heading_deg, heading_error_deg, steer_cmd);
        printf("[PATH_CTRL] drive=%d scaled=%d left=%d right=%d\r\n",
               drive_cmd, current_drive_cmd, left_cmd, right_cmd);
    }
*/
    (void)dt_s;
}

uint8_t probe_addr(uint8_t addr)
{
    return (HAL_I2C_IsDeviceReady(&hi2c1, (uint16_t)(addr << 1), 3, 100) == HAL_OK) ? 1u : 0u;
}

void i2c_scan(void)
{
    uint8_t addr;

    for (addr = 0x08; addr < 0x78; addr++)
    {
        if (probe_addr(addr))
        {
        }
    }
}

uint8_t imu_write_reg(uint8_t reg, uint8_t val)
{
    return (HAL_I2C_Mem_Write(&hi2c1, (uint16_t)(imu_addr << 1), reg, I2C_MEMADD_SIZE_8BIT, &val, 1, 100) == HAL_OK) ? 1u : 0u;
}

uint8_t imu_read_reg(uint8_t reg, uint8_t *val)
{
    return (HAL_I2C_Mem_Read(&hi2c1, (uint16_t)(imu_addr << 1), reg, I2C_MEMADD_SIZE_8BIT, val, 1, 100) == HAL_OK) ? 1u : 0u;
}

uint8_t imu_read_regs(uint8_t reg, uint8_t *buf, uint16_t len)
{
    return (HAL_I2C_Mem_Read(&hi2c1, (uint16_t)(imu_addr << 1), reg, I2C_MEMADD_SIZE_8BIT, buf, len, 100) == HAL_OK) ? 1u : 0u;
}

uint8_t MiniMU_FindIMU(void)
{
    if (probe_addr(LSM6DS33_ADDR_HIGH))
    {
        imu_addr = LSM6DS33_ADDR_HIGH;
        return 1;
    }

    if (probe_addr(LSM6DS33_ADDR_LOW))
    {
        imu_addr = LSM6DS33_ADDR_LOW;
        return 1;
    }

    imu_addr = 0;
    return 0;
}

uint8_t MiniMU_Init(void)
{
    i2c_scan();

    if (!MiniMU_FindIMU())
    {
        return 0;
    }

    imu_write_reg(LSM6DS33_CTRL1_XL, 0x40);
    imu_write_reg(LSM6DS33_CTRL2_G, 0x40);
    imu_write_reg(LSM6DS33_CTRL3_C, 0x44);

    return 1;
}

uint8_t MiniMU_ReadGyro(void)
{
    imu_read_regs(LSM6DS33_OUTX_L_G, gyro_buf, 6);

    gyro_x = (int16_t)((((uint16_t)gyro_buf[1]) << 8) | gyro_buf[0]);
    gyro_y = (int16_t)((((uint16_t)gyro_buf[3]) << 8) | gyro_buf[2]);
    gyro_z = (int16_t)((((uint16_t)gyro_buf[5]) << 8) | gyro_buf[4]);

    return 1;
}

uint8_t MiniMU_ReadAccel(void)
{
    if (!imu_read_regs(LSM6DS33_OUTX_L_XL, accel_buf, 6))
    {
        return 0;
    }

    accel_x = (int16_t)((((uint16_t)accel_buf[1]) << 8) | accel_buf[0]);
    accel_y = (int16_t)((((uint16_t)accel_buf[3]) << 8) | accel_buf[2]);
    accel_z = (int16_t)((((uint16_t)accel_buf[5]) << 8) | accel_buf[4]);

    return 1;
}

void MiniMU_UpdateScaled(void)
{
    ax_g = ((float)accel_x) *  0.000061f;
    ay_g = ((float)accel_y) *  0.000061f;
    az_g = ((float)accel_z) *  0.000061f;

    gx_dps = ((float)gyro_x) * GYRO_SENS_DPS_PER_LSB - gx_bias;
    gy_dps = ((float)gyro_y) * GYRO_SENS_DPS_PER_LSB - gy_bias;
    gz_dps = ((float)gyro_z) * GYRO_SENS_DPS_PER_LSB - gz_bias;
}

void MiniMU_UpdateAngles(void)
{
    float denom_pitch;

    denom_pitch = sqrtf((ax_g * ax_g) + (az_g * az_g));

    if (denom_pitch < 0.0001f)
    {
        denom_pitch = 0.0001f;
    }

    roll_deg = atan2f(ay_g, az_g) * RAD_TO_DEG;
    pitch_deg = atan2f(-ax_g, denom_pitch) * RAD_TO_DEG;
}

void MiniMU_PrintScaledData(void)
{
    /* Detailed IMU telemetry formatting disabled to reduce flash usage. */
}

void MiniMU_PrintAngles(void)
{
    /* Detailed angle telemetry formatting disabled to reduce flash usage. */
}

uint8_t MiniMU_CalibrateGyro(void)
{
    uint32_t i;
    int32_t sum_x = 0;
    int32_t sum_y = 0;
    int32_t sum_z = 0;

    for (i = 0; i < GYRO_CAL_SAMPLES; i++)
    {
        if (!MiniMU_ReadGyro())
        {
            return 0;
        }

        sum_x += gyro_x;
        sum_y += gyro_y;
        sum_z += gyro_z;

        HAL_Delay(10);
    }

    gx_bias = ((float)sum_x / (float)GYRO_CAL_SAMPLES) * GYRO_SENS_DPS_PER_LSB;
    gy_bias = ((float)sum_y / (float)GYRO_CAL_SAMPLES) * GYRO_SENS_DPS_PER_LSB;
    gz_bias = ((float)sum_z / (float)GYRO_CAL_SAMPLES) * GYRO_SENS_DPS_PER_LSB;

    return 1;
}

void IMUUpdate(void)
{
  if ((now_ms - last_imu_update_ms) >= IMU_UPDATE_PERIOD_MS)
    {
      dt_s = (float)(now_ms - last_imu_update_ms) / 1000.0f;
      last_imu_update_ms = now_ms;

      if (!MiniMU_ReadGyro()) {}
      else if (!MiniMU_ReadAccel()) {}
      else
      {
        MiniMU_UpdateScaled();
        MiniMU_UpdateAngles();
        normalized_roll = roll_to_negative_domain_deg(roll_deg);
        EnqueueTelemetry();

        yaw_deg = wrap_angle_deg(yaw_deg + gz_dps * dt_s);
        pose_x_cm += ((float)current_drive_cmd * DRIVE_SPEED_SCALE_CM_S * dt_s) * cosf((yaw_deg - yaw_zero_deg) / RAD_TO_DEG);
        pose_y_cm += ((float)current_drive_cmd * DRIVE_SPEED_SCALE_CM_S * dt_s) * sinf((yaw_deg - yaw_zero_deg) / RAD_TO_DEG);
      }
    }

    if ((now_ms - last_pose_stream_ms) >= POSE_STREAM_PERIOD_MS)
    {
      last_pose_stream_ms = now_ms;
      /* Serial debug mode: suppress periodic origin/pose telemetry. */
    }
}
/* ── Pop one frame from the TX queue and transmit it ───────────────────── */
static void SendNextFromQueue(void)
{
    if (IR_TX_Busy()) return;
    IR_TXQ_SendNext();
    last_ir_tx_ms = HAL_GetTick();
}

/* ── Push IMU + motor-power snapshot into the TX queue ─────────────────── */
static void EnqueueTelemetry(void)
{
    IR_TXQ_Push(IR_CMD_ACCEL_X, (uint16_t)accel_x);
    IR_TXQ_Push(IR_CMD_ACCEL_Y, (uint16_t)accel_y);
    IR_TXQ_Push(IR_CMD_ACCEL_Z, (uint16_t)accel_z);
    IR_TXQ_Push(IR_CMD_GYRO_X,  (uint16_t)gyro_x);
    IR_TXQ_Push(IR_CMD_GYRO_Y,  (uint16_t)gyro_y);
    IR_TXQ_Push(IR_CMD_GYRO_Z,  (uint16_t)gyro_z);
    IR_TXQ_Push(IR_CMD_LEFT_POWER,
        (current_left_motor_cmd >= 0)
            ? ((uint16_t)current_left_motor_cmd << 8)
            : ((uint16_t)(-current_left_motor_cmd)));
    IR_TXQ_Push(IR_CMD_RIGHT_POWER,
        (current_right_motor_cmd >= 0)
            ? ((uint16_t)current_right_motor_cmd << 8)
            : ((uint16_t)(-current_right_motor_cmd)));
}

// MAIN CONTROLLER STATE MACHINE
void ControllerStateMachine(void)
{
  switch (controller_state)
  {
    case STATE_CONFIG:
      //printf("config\n");
      current_drive_cmd = 0;
      if (ir_reset) {
          ir_reset = 0;
          controller_state = STATE_CONFIG;
      }
      //ir_reset = 0;
      //ir_running = 0;
      Set_Left_Motor(0);
      Set_Right_Motor(0);

      if (ir_running)
      {
        controller_state = STATE_DRIVE;
        ir_running = 0;
      }
      break;

    case STATE_DRIVE:
      //printf("drive\n");
      if (ir_pause)
      {
        controller_state = STATE_PAUSE;
        ir_pause = 0;
        ir_reset = 0;
      }
      else if (ir_reset) {
        controller_state = STATE_CONFIG;
         ir_pause = 0;
        ir_reset = 0;
      }
      else
      {
        CarStateMachine();
      }
      break;

    case STATE_PAUSE:
      //printf("pause\n");
      current_drive_cmd = 0;
      Set_Left_Motor(0);
      Set_Right_Motor(0);
      if (ir_running)
      {
        controller_state = STATE_DRIVE;
        ir_running = 0;
      }
      else if (ir_reset)
      {
        controller_state = STATE_CONFIG;
        ir_reset = 0;
      }
      break;

    default:
      controller_state = STATE_CONFIG;
      break;
  }
}

void CarStateMachine(void)
{
  if (ir_mode == IR_MODE_FIELD)
  {
    car_state = STATE_FIELD_TRACKING;
  }
  else if (ir_mode == IR_MODE_REMOTE)
  {
    car_state = STATE_REMOTE;
  }
  else if (ir_mode == IR_MODE_PATH)
  {
    car_state = STATE_PATH_TRACKING;
  }
  else
  {
    car_state = STATE_FIELD_TRACKING;
  }

  switch (car_state)
  {
    case STATE_FIELD_TRACKING:
      //printf("tracking\n");
      path_tracking();
      break;

    case STATE_REMOTE:
      //printf("remote\n");
      motor_remote_control(ir_joystick_x, ir_joystick_y);
      break;

    case STATE_PATH_TRACKING:
      //printf("path\n");
      process_pathfinder_control((float)(HAL_GetTick() - last_imu_update_ms) / 1000.0f);
      break;

    default:
      current_drive_cmd = 0;
      Set_Left_Motor(0);
      Set_Right_Motor(0);
      car_state = STATE_FIELD_TRACKING;
      break;
  }
}

/* ── IR command handler — called from main loop on each decoded IR frame ─── */
/* Keep this function short: no blocking calls, no printf.                    */
void HandleCommand(uint8_t cmd_name, uint16_t val)
{
  switch (cmd_name)
  {
    case IR_CMD_START:
      ir_running = 1u;
      break;

    case IR_CMD_PAUSE:
      ir_pause = 1u;
      break;

    case IR_CMD_RESET:
      ir_reset = 1u;
      ir_running = 0u; // Added
      ir_pause = 0u;   // Added as well
      ir_joystick_x = IR_JOYSTICK_CENTER_X;
      ir_joystick_y = IR_JOYSTICK_CENTER_Y;
      ir_mode       = IR_MODE_FIELD;
      ir_path       = IR_PATH_1;

      // Adding these variable resets
      intersection_number = 0;
      my_tracking_states = Running;
      front_inductor_ready = 1;

      break;

    case IR_CMD_MODE:
      ir_mode = val;
      break;

    case IR_CMD_PATH:
      ir_path = val;
      break;

    case IR_CMD_JOYSTICK_X:
      ir_joystick_x = val;
      break;

    case IR_CMD_JOYSTICK_Y:
      ir_joystick_y = val;
      break;

    case IR_CMD_ZERO_YAW:
      zero_yaw = 1u;
      break;

    case IR_CMD_MANUAL_PATH:
    {
      uint8_t i;
      for (i = 0u; i < 8u; i++)
      {
        path_man[i] = (enum intersection_directions)((val >> (i * 2u)) & 0x03u);
      }
      break;
    }

    default:
      /* path waypoint: cmd = PATH_CMD_BASE + index (7..38) */
      if (cmd_name >= PATH_CMD_BASE && cmd_name < PATH_CMD_BASE + PATH_MAX_WAYPOINTS)
      {
        uint8_t idx = cmd_name - PATH_CMD_BASE;
        path_x[idx] = (uint8_t)((val >> 8) & 0xFFu);  /* high byte = x_cm */
        path_y[idx] = (uint8_t)(val & 0xFFu);           /* low byte  = y_cm */
        if (idx + 1u > path_count)
        {
          path_count = idx + 1u;
        }
        uart_send_text("WPT_RX,");
        uart_send_uint32(idx);
        uart_send_text(",");
        uart_send_uint32(path_x[idx]);
        uart_send_text(",");
        uart_send_uint32(path_y[idx]);
        uart_send_text("\r\n");
      }
      break;
  }
}

/* USER CODE END 4 */

void Error_Handler(void)
{
  __disable_irq();
  while (1)
  {
    HAL_GPIO_TogglePin(GPIOB, GPIO_PIN_1);
    HAL_Delay(150);
  }
}
